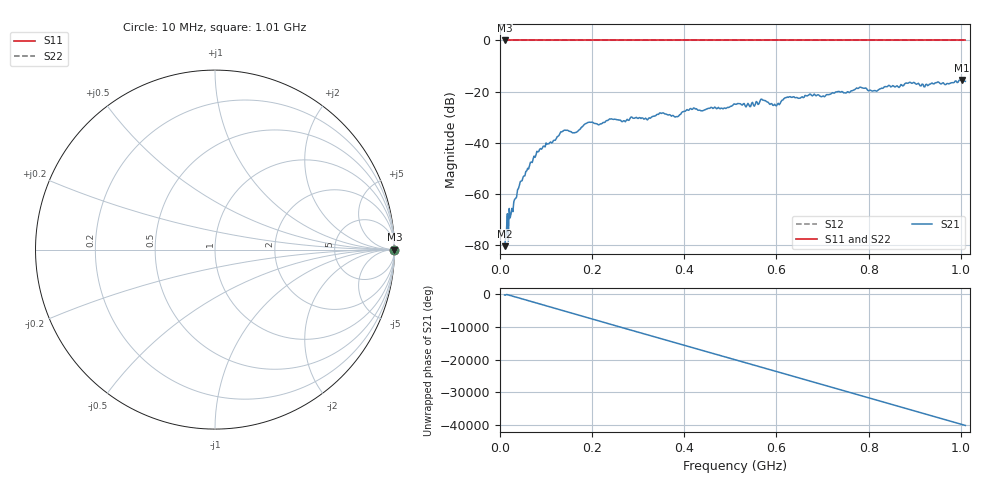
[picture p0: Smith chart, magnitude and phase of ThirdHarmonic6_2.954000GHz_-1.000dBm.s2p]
! 8/17/2025 8:19:02 AM
! C:\ANRITSUVNA\TEMP\TEMP.S2P
! CHANNEL.1
! TR.MEASUREMENT
! RAW.DATA
! RF.CORRECTION.OFF
! AVERAGING.OFF
! IF.BANDWIDTH: 5KHZ
! SWEEPTYPE:  FREQ.SWEEP(Linear)
! Reference Plane Port Info
! PORT:  PORT1  PORT2
! DISTANCE:  0  m  0  m
! TIME:  0  s  0  s
! PHASE.OFFSET:  0  deg.  0  deg.
! LOSS:  0  dB  0  dB
! REF.LOSS:  0  dB  0  dB
! REF.FREQ:  0  Hz  0  Hz
! Power Info
! POWER:  -20  dBm  -20  dBm
! EFF.POWER:  -20  dBm  -20  dBm
! SOURCE.ATTEN:  0  dB  0  dB
! TEST.ATTEN:  0  dB  0  dB
# GHZ S RI R 50.0
! FREQ.GHZ  S11RE  S11IM  S21RE  S21IM  S12RE  S12IM  S22RE  S22IM
!; PortSelection: Port_12
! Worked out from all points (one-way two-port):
!   501 points, 10 MHz to 1.01 GHz, reference 50 ohm
!   highest |S21| = -15.42 dB at 1.002 GHz (marker M1); lowest = -80.4 dB at 10 MHz (marker M2)
!   lowest |S11| = 0.0 dB at 10 MHz (marker M3)
!   |S11| at or under -10 dB: nowhere
!   |S22| runs from 0.0 to 0.0 dB; largest |S21 - S12| = 1.2
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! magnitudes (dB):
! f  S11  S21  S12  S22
! 10 MHz  0.0  -80.4  0.0  0.0
! 18 MHz  0.0  -78.5  0.0  0.0
! 42 MHz  0.0  -56.7  0.0  0.0
! 78 MHz  0.0  -44.8  0.0  0.0
! 136 MHz  0.0  -35.5  0.0  0.0
! 162 MHz  0.0  -36.1  0.0  0.0
! 178 MHz  0.0  -33.8  0.0  0.0
! 194 MHz  0.0  -31.9  0.0  0.0
! 322 MHz  0.0  -30.5  0.0  0.0
! 344 MHz  0.0  -28.9  0.0  0.0
! 382 MHz  0.0  -29.8  0.0  0.0
! 416 MHz  0.0  -27.0  0.0  0.0
! 510 MHz  0.0  -24.9  0.0  0.0
! 548 MHz  0.0  -24.2  0.0  0.0
! 570 MHz  0.0  -23.3  0.0  0.0
! 596 MHz  0.0  -24.9  0.0  0.0
! 622 MHz  0.0  -22.3  0.0  0.0
! 678 MHz  0.0  -21.7  0.0  0.0
! 814 MHz  0.0  -19.6  0.0  0.0
! 844 MHz  0.0  -17.5  0.0  0.0
! 1.002 GHz  0.0  -15.4  0.0  0.0
! 1.01 GHz  0.0  -16.0  0.0  0.0
